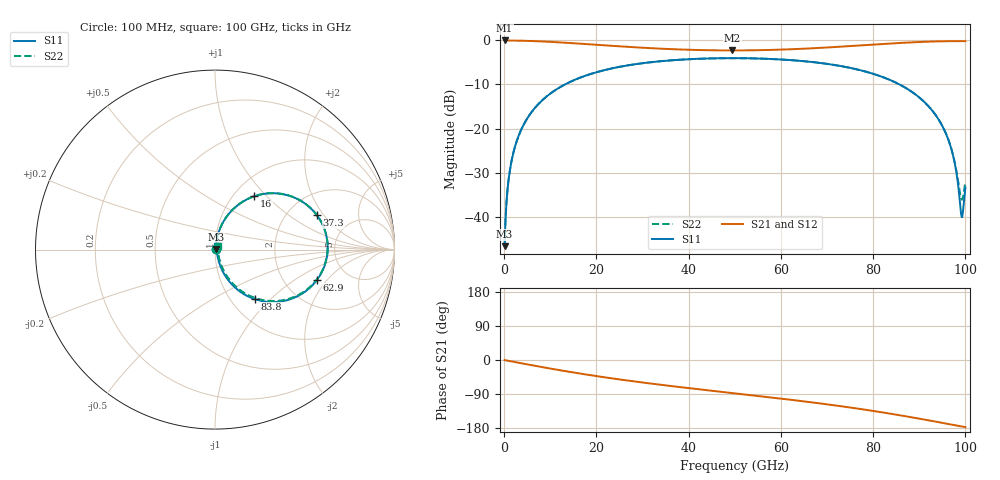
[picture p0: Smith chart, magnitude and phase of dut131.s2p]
! Touchstone file exported from HFSS 2026.1.0
!  File:  C:/ffzhzh/LocalFiles/Ansys_Project_Files/temp_train_RDL_131_1783499582_9504.aedt
!  Generated:  04:34:22 PM Jul  8, 2026
!  Design:  RDL
!  Project:  temp_train_RDL_131_1783499582_9504
! Variables:
!  h_bsmrdl = 2um
!  h_ox = 20um
!  h_rdl = 5um
!  h_sub = 80um
!  h_tmrdl = 2.57um
!  h_tsv = 80um
!  h_via = 3um
!  l_bsmrdl = 300um
!  l_sub = 968.76um
!  l_tmrdl = 568.76um
!  m_sub = 200um
!  pitch = 59.92um
!  r_tsv = 6um
!  s_tmrdl = 10um
!  w_bsmrdl = 18um
!  w_sub = 500um
!  w_tmrdl = 22.83um
!  x_tsv_center1 = 580.175um
!  x_tsv_center2 = 898.175um
!  x_tsv_center3 = 1489.765um
!  x_tsv_center4 = 1807.765um
!  x_tsv_center5 = 2399.355um
!  x_tsv_center6 = 2717.355um
# GHz S MA R 50.000000
! Terminal data exported
! Port[1] = TM_RDL1_1_T1
! Port[2] = TM_RDL1_1_T2
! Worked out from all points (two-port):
!   1000 points, 100 MHz to 100 GHz, reference 50 ohm
!   highest |S21| = -0.03 dB at 100 MHz (marker M1); lowest = -2.3 dB at 49.5 GHz (marker M2)
!   |S21| within 3 dB of the highest: start of sweep to end of sweep
!   lowest |S11| = -46.6 dB at 100 MHz (marker M3), VSWR 1.01, Z = 50.4 + j0.288 ohm
!   |S11| at or under -10 dB: start of sweep to 13.19 GHz; 85.71 GHz to end of sweep
!   |S22| runs from -46.6 to -4.0 dB; largest |S21 - S12| = 1.7e-14
!   S11 on the Smith chart (normalised r, x): 100 MHz: 1.01, +0.01; 16 GHz: 1.24, +0.85; 37.3 GHz: 2.86, +1.71; 62.9 GHz: 3.01, -1.57; 83.8 GHz: 1.28, -0.81; 100 GHz: 1.02, +0.04
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0.1  0.004654 37.8  0.9963 -0.2  0.9963 -0.2  0.004654 37.8
! Gamma 0 0 0 0
! Port Impedance 50 0 50 0
0.8  0.02218 76.4  0.9952 -1.9  0.9952 -1.9  0.02218 76.4
1.4  0.03768 79.4  0.9945 -3.3  0.9945 -3.3  0.03768 79.4
2.4  0.06363 79.8  0.9929 -5.6  0.9929 -5.6  0.06363 79.8
3.9  0.1023 77.9  0.9893 -9.0  0.9893 -9.0  0.1023 77.9
8.6  0.2173 68.5  0.969 -19.6  0.969 -19.6  0.2173 68.6
16  0.3693 53.6  0.9198 -34.9  0.9198 -34.9  0.3693 53.7
16.8  0.3833 52.1  0.9139 -36.4  0.9139 -36.4  0.3833 52.2
33.4  0.5763 24.3  0.8067 -64.6  0.8067 -64.6  0.5762 24.6
37.3  0.599 18.7  0.7903 -70.3  0.7903 -70.3  0.5988 19.0
49.5  0.6281 1.9  0.7681 -87.3  0.7681 -87.3  0.6279 2.4
50.1  0.6281 1.1  0.7681 -88.1  0.7681 -88.1  0.6279 1.6
62.9  0.5928 -16.6  0.7948 -106.1  0.7948 -106.1  0.5925 -16.0
66.7  0.5684 -22.2  0.8116 -111.8  0.8116 -111.8  0.5681 -21.5
83.4  0.3602 -50.6  0.9177 -141.0  0.9177 -141.0  0.3599 -49.4
83.8  0.3528 -51.4  0.9204 -141.8  0.9204 -141.8  0.3526 -50.1
89.7  0.2321 -62.7  0.9554 -154.1  0.9554 -154.1  0.2319 -60.9
93.9  0.1338 -70.2  0.9722 -163.4  0.9722 -163.4  0.134 -67.2
97.1  0.05499 -71.3  0.9787 -170.6  0.9787 -170.6  0.05593 -64.8
97.9  0.03535 -67.2  0.9794 -172.4  0.9794 -172.4  0.03702 -57.9
99.1  0.01051 -16.5  0.9796 -175.2  0.9796 -175.2  0.01595 -7.4
100  0.02144 64.5  0.9792 -177.2  0.9792 -177.2  0.02491 53.6
